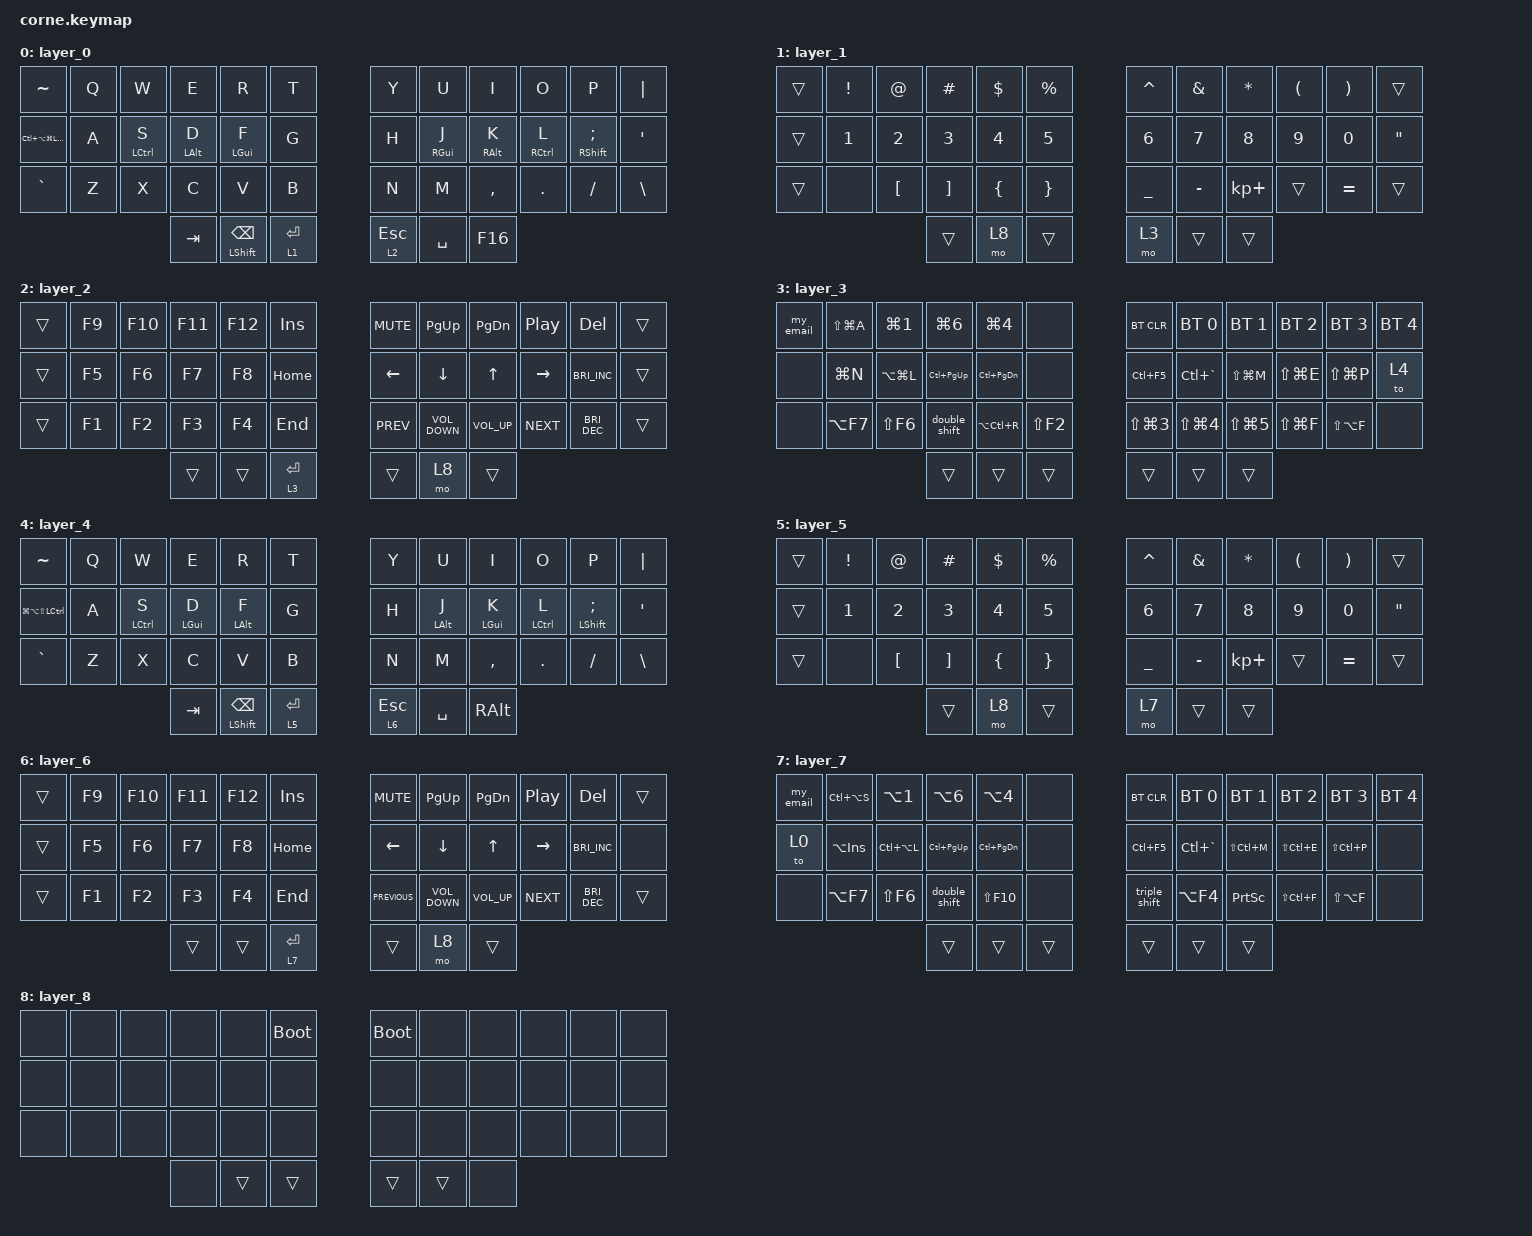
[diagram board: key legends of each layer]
#include <behaviors.dtsi>
#include <dt-bindings/zmk/bt.h>
#include <dt-bindings/zmk/keys.h>

/ {
    combos {
        compatible = "zmk,combos";

        less_then {
            bindings = <&kp LESS_THAN>;
            key-positions = <31 32>;
            timeout-ms = <150>;
            require-prior-idle-ms = <150>;
        };

        greater_then {
            bindings = <&kp GREATER_THAN>;
            key-positions = <32 33>;
            timeout-ms = <150>;
            require-prior-idle-ms = <150>;
        };

        mac_undo {
            bindings = <&kp LG(Z)>;
            key-positions = <25 26>;
            timeout-ms = <60>;
            layers = <0>;
        };

        mac_cut {
            bindings = <&kp LG(X)>;
            key-positions = <26 28>;
            timeout-ms = <60>;
            layers = <0>;
        };

        mac_copy {
            bindings = <&kp LG(C)>;
            key-positions = <26 27>;
            timeout-ms = <60>;
            layers = <0>;
        };

        mac_paste {
            bindings = <&kp LG(V)>;
            key-positions = <27 28>;
            timeout-ms = <60>;
            layers = <0>;
        };

        win_undo {
            bindings = <&kp LC(Z)>;
            key-positions = <25 26>;
            timeout-ms = <60>;
            require-prior-idle-ms = <100>;
            layers = <4>;
        };

        win_copy {
            bindings = <&kp LC(C)>;
            key-positions = <26 27>;
            timeout-ms = <60>;
            require-prior-idle-ms = <100>;
            layers = <4>;
        };

        win_paste {
            bindings = <&kp LC(V)>;
            key-positions = <27 28>;
            timeout-ms = <60>;
            require-prior-idle-ms = <100>;
            layers = <4>;
        };
    };

    macros {
        my_email: my_email {
            compatible = "zmk,behavior-macro";
            #binding-cells = <0>;
            bindings = <&kp B &kp L &kp A &kp C &kp K &kp E &kp A &kp G &kp L &kp E &kp N1 &kp N0 &kp AT &kp I &kp C &kp L &kp O &kp U &kp D &kp DOT &kp C &kp O &kp M>;
            label = "MY_EMAIL";
        };

        double_shift: double_shift {
            compatible = "zmk,behavior-macro";
            #binding-cells = <0>;
            bindings = <&kp LEFT_SHIFT &kp LEFT_SHIFT>;
            label = "DOUBLE_SHIFT";
        };

        triple_shift: triple_shift {
            compatible = "zmk,behavior-macro";
            #binding-cells = <0>;
            bindings = <&kp RIGHT_SHIFT &kp RIGHT_SHIFT &kp RIGHT_SHIFT>;
            label = "TRIPLE_SHIFT";
        };
    };

    behaviors {
        new_mt: new_mt {
            compatible = "zmk,behavior-hold-tap";
            label = "NEW_MT";
            bindings = <&kp>, <&kp>;

            #binding-cells = <2>;
            tapping-term-ms = <200>;
            quick-tap-ms = <200>;
            flavor = "hold-preferred";
        };

        new_lt: new_lt {
            compatible = "zmk,behavior-hold-tap";
            label = "NEW_LT";
            bindings = <&mo>, <&kp>;

            #binding-cells = <2>;
            tapping-term-ms = <200>;
            flavor = "hold-preferred";
        };

        right_hrm: right_hrm {
            compatible = "zmk,behavior-hold-tap";
            label = "RIGHT_HRM";
            bindings = <&kp>, <&kp>;

            #binding-cells = <2>;
            tapping-term-ms = <200>;
            quick-tap-ms = <200>;
            flavor = "balanced";
            hold-trigger-key-positions = <0 1 2 3 4 5 12 13 14 15 16 17 24 25 26 27 28 29 36 37 38 19 20 21 22 39 40 41>;
        };

        left_hrm: left_hrm {
            compatible = "zmk,behavior-hold-tap";
            label = "LEFT_HRM";
            bindings = <&kp>, <&kp>;

            #binding-cells = <2>;
            tapping-term-ms = <200>;
            quick-tap-ms = <200>;
            flavor = "balanced";
            hold-trigger-key-positions = <6 7 8 9 10 11 18 19 20 21 22 23 30 31 32 33 34 35 39 40 41 14 15 16 36 37 38>;
        };
    };

    keymap {
        compatible = "zmk,keymap";

        layer_0 {
            bindings = <
&kp TILDE                   &kp Q  &kp W                     &kp E                 &kp R                         &kp T              &kp Y             &kp U                   &kp I                   &kp O                       &kp P                             &kp PIPE
&kp LC(LA(LG(LEFT_SHIFT)))  &kp A  &left_hrm LEFT_CONTROL S  &left_hrm LEFT_ALT D  &left_hrm LEFT_GUI F          &kp G              &kp H             &right_hrm RIGHT_GUI J  &right_hrm RIGHT_ALT K  &right_hrm RIGHT_CONTROL L  &right_hrm RIGHT_SHIFT SEMICOLON  &kp SINGLE_QUOTE
&kp GRAVE                   &kp Z  &kp X                     &kp C                 &kp V                         &kp B              &kp N             &kp M                   &kp COMMA               &kp DOT                     &kp SLASH                         &kp BACKSLASH
                                                             &kp TAB               &new_mt LEFT_SHIFT BACKSPACE  &new_lt 1 ENTER    &new_lt 2 ESCAPE  &kp SPACE               &kp F16
            >;
        };

        layer_1 {
            bindings = <
&trans  &kp EXCLAMATION  &kp AT_SIGN       &kp POUND          &kp DOLLAR      &kp PERCENT        &kp CARET  &kp AMPERSAND  &kp ASTRK    &kp LEFT_PARENTHESIS  &kp RIGHT_PARENTHESIS  &trans
&trans  &kp N1           &kp N2            &kp N3             &kp N4          &kp N5             &kp N6     &kp N7         &kp N8       &kp N9                &kp N0                 &kp DOUBLE_QUOTES
&trans  &none            &kp LEFT_BRACKET  &kp RIGHT_BRACKET  &kp LEFT_BRACE  &kp RIGHT_BRACE    &kp UNDER  &kp MINUS      &kp KP_PLUS  &trans                &kp EQUAL              &trans
                                           &trans             &mo 8           &trans             &mo 3      &trans         &trans
            >;
        };

        layer_2 {
            bindings = <
&trans  &kp F9  &kp F10  &kp F11  &kp F12  &kp INSERT         &kp C_MUTE  &kp PAGE_UP        &kp PAGE_DOWN  &kp C_PLAY_PAUSE  &kp DELETE            &trans
&trans  &kp F5  &kp F6   &kp F7   &kp F8   &kp HOME           &kp LEFT    &kp DOWN           &kp UP_ARROW   &kp RIGHT         &kp C_BRIGHTNESS_INC  &trans
&trans  &kp F1  &kp F2   &kp F3   &kp F4   &kp END            &kp C_PREV  &kp C_VOLUME_DOWN  &kp C_VOL_UP   &kp C_NEXT        &kp C_BRIGHTNESS_DEC  &trans
                         &trans   &trans   &new_lt 3 ENTER    &trans      &mo 8              &trans
            >;
        };

        layer_3 {
            bindings = <
&my_email  &kp LS(LG(A))  &kp LG(NUMBER_1)  &kp LG(N6)       &kp LG(N4)         &none         &bt BT_CLR            &bt BT_SEL 0          &bt BT_SEL 1          &bt BT_SEL 2   &bt BT_SEL 3   &bt BT_SEL 4
&none      &kp LG(N)      &kp LA(LG(L))     &kp LC(PAGE_UP)  &kp LC(PAGE_DOWN)  &none         &kp LC(F5)            &kp LC(GRAVE)         &kp LS(LG(M))         &kp LS(LG(E))  &kp LS(LG(P))  &to 4
&none      &kp LA(F7)     &kp LS(F6)        &double_shift    &kp LA(LC(R))      &kp LS(F2)    &kp LS(LG(NUMBER_3))  &kp LS(LG(NUMBER_4))  &kp LS(LG(NUMBER_5))  &kp LS(LG(F))  &kp LS(LA(F))  &none
                                            &trans           &trans             &trans        &trans                &trans                &trans
            >;
        };

        layer_4 {
            bindings = <
&kp TILDE                     &kp Q  &kp W                     &kp E                 &kp R                         &kp T              &kp Y             &kp U                  &kp I                  &kp O                      &kp P                            &kp PIPE
&kp LG(LA(LS(LEFT_CONTROL)))  &kp A  &left_hrm LEFT_CONTROL S  &left_hrm LEFT_GUI D  &left_hrm LEFT_ALT F          &kp G              &kp H             &right_hrm LEFT_ALT J  &right_hrm LEFT_GUI K  &right_hrm LEFT_CONTROL L  &right_hrm LEFT_SHIFT SEMICOLON  &kp SINGLE_QUOTE
&kp GRAVE                     &kp Z  &kp X                     &kp C                 &kp V                         &kp B              &kp N             &kp M                  &kp COMMA              &kp DOT                    &kp FSLH                         &kp BACKSLASH
                                                               &kp TAB               &new_mt LEFT_SHIFT BACKSPACE  &new_lt 5 ENTER    &new_lt 6 ESCAPE  &kp SPACE              &kp RIGHT_ALT
            >;
        };

        layer_5 {
            bindings = <
&trans  &kp EXCLAMATION  &kp AT_SIGN       &kp POUND          &kp DOLLAR      &kp PERCENT        &kp CARET       &kp AMPERSAND  &kp ASTRK    &kp LEFT_PARENTHESIS  &kp RIGHT_PARENTHESIS  &trans
&trans  &kp N1           &kp N2            &kp N3             &kp N4          &kp N5             &kp N6          &kp N7         &kp N8       &kp N9                &kp N0                 &kp DOUBLE_QUOTES
&trans  &none            &kp LEFT_BRACKET  &kp RIGHT_BRACKET  &kp LEFT_BRACE  &kp RIGHT_BRACE    &kp UNDERSCORE  &kp MINUS      &kp KP_PLUS  &trans                &kp EQUAL              &trans
                                           &trans             &mo 8           &trans             &mo 7           &trans         &trans
            >;
        };

        layer_6 {
            bindings = <
&trans  &kp F9  &kp F10  &kp F11  &kp F12  &kp INSERT         &kp C_MUTE      &kp PAGE_UP        &kp PAGE_DOWN    &kp C_PLAY_PAUSE  &kp DELETE            &trans
&trans  &kp F5  &kp F6   &kp F7   &kp F8   &kp HOME           &kp LEFT        &kp DOWN           &kp UP_ARROW     &kp RIGHT         &kp C_BRIGHTNESS_INC  &none
&trans  &kp F1  &kp F2   &kp F3   &kp F4   &kp END            &kp C_PREVIOUS  &kp C_VOLUME_DOWN  &kp C_VOLUME_UP  &kp C_NEXT        &kp C_BRIGHTNESS_DEC  &trans
                         &trans   &trans   &new_lt 7 ENTER    &trans          &mo 8              &trans
            >;
        };

        layer_7 {
            bindings = <
&my_email  &kp LC(LA(S))   &kp LA(NUMBER_1)  &kp LA(NUMBER_6)  &kp LA(N4)         &none     &bt BT_CLR     &bt BT_SEL 0   &bt BT_SEL 1     &bt BT_SEL 2   &bt BT_SEL 3   &bt BT_SEL 4
&to 0      &kp LA(INSERT)  &kp LC(LA(L))     &kp LC(PAGE_UP)   &kp LC(PAGE_DOWN)  &none     &kp LC(F5)     &kp LC(GRAVE)  &kp LS(LC(M))    &kp LS(LC(E))  &kp LS(LC(P))  &none
&none      &kp LA(F7)      &kp LS(F6)        &double_shift     &kp LS(F10)        &none     &triple_shift  &kp LA(F4)     &kp PRINTSCREEN  &kp LS(LC(F))  &kp LS(LA(F))  &none
                                             &trans            &trans             &trans    &trans         &trans         &trans
            >;
        };

        layer_8 {
            bindings = <
&none  &none  &none  &none  &none   &bootloader    &bootloader  &none   &none  &none  &none  &none
&none  &none  &none  &none  &none   &none          &none        &none   &none  &none  &none  &none
&none  &none  &none  &none  &none   &none          &none        &none   &none  &none  &none  &none
                     &none  &trans  &trans         &trans       &trans  &none
            >;
        };
    };
};
